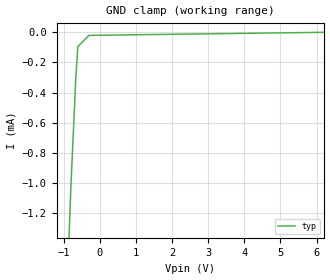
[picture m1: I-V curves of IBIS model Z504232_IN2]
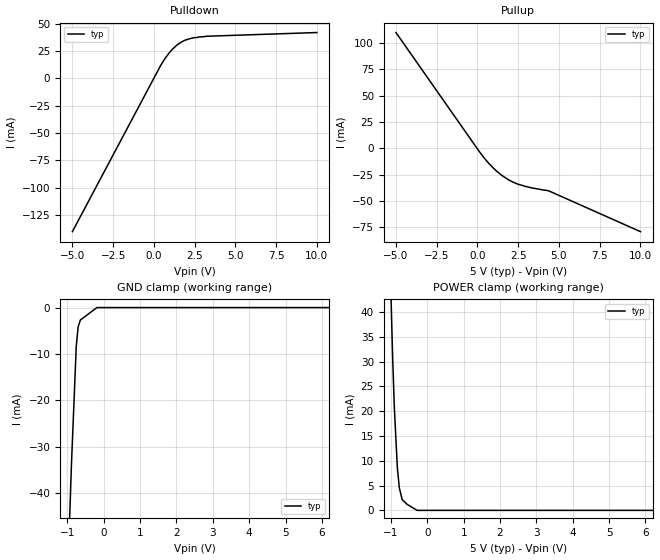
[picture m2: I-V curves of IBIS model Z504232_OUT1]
| YOU ARE ONLY AUTHORIZED TO USE THIS SOFTWARE
| ACCORDING TO LICENSOR'S LICENSE RESTRICTIONS.
[IBIS Ver] 3.1
[File Name] mc74hc4050d.ibs
[File Rev] 2.0
[Source] Measured and created by ICX Technology
[Date] Friday 7/14/00 9:08:10 AM
[Copyright]
| (C) COPYRIGHT 1993-2000
| MENTOR GRAPHICS CORPORATION
| ICX STANDARD LIBRARY, ICX PROJECT MODELING,
| ICX CUSTOM MODELING, ICX VENDOR MODEL
| ALL RIGHTS RESERVED.
| THE FOLLOWING ARE TRADEMARKS OR SERVICE MARKS OF
| MENTOR GRAPHICS CORPORATION:ICX (R), ICX STANDARD
| LIBRARY(R), ICX PROJECT MODELING(R), ICX CUSTOM
| MODELING(R), qualityIBIS(TM), MODELVIEWER(TM),
| AND MODELEDITOR(TM)
| ALL COPIES OF SOFTWARE, INCLUDING BUT NOT LIMITED TO
| ANY MODIFICATIONS, ENHANCEMENTS OR DERIVATIVE WORKS,
| MUST CONTAIN ALL MENTOR GRAPHICS CORPORATION'S
| NOTICES AND LEGENDS, INCLUDING THOSE EMBEDDED IN
| SOFTWARE AND THOSE AFFIXED TO SOFTWARE MEDIUM
| AND CONTAINER, AS RECEIVED FROM MENTOR GRAPHICS
| CORPORATION.
|  ZAP Model Builder 2.7
[Component] MC74HC4050D
[Manufacturer] OnSemiconductor
[Package]
| variable   typ   min   max
R_pkg  .156ohms NA NA
L_pkg  3.148nH NA NA
C_pkg  .388pF NA NA
[Pin] signal_name  model_name  R_pin  L_pin C_pin
1 VCC POWER .162 3.798n .418p
2 Y Z504232_OUT1 .158 3.358n .398p
3 A Z504232_IN2 .154 2.928n .378p
4 Y Z504232_OUT1 .15 2.508n .358p
5 A Z504232_IN2 .15 2.508n .358p
6 Y Z504232_OUT1 .154 2.928n .378p
7 A Z504232_IN2 .158 3.358n .398p
8 GROUND GND .162 3.798n .418p
9 A Z504232_IN2 .162 3.798n .418p
10 Y Z504232_OUT1 .158 3.358n .398p
11 A Z504232_IN2 .154 2.928n .378p
12 Y Z504232_OUT1 .15 2.508n .358p
13 NC NC .15 2.508n .358p
14 A Z504232_IN2 .154 2.928n .378p
15 Y Z504232_OUT1 .158 3.358n .398p
16 NC NC .162 3.798n .418p
| Models and submodels in the file (2): Z504232_IN2 (Input), Z504232_OUT1 (Output)
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| (C) COPYRIGHT 1993-2000
| MENTOR GRAPHICS CORPORATION
| ICX STANDARD LIBRARY, ICX PROJECT MODELING,
| ICX CUSTOM MODELING, ICX VENDOR MODEL
| ALL RIGHTS RESERVED.
| THE FOLLOWING ARE TRADEMARKS OR SERVICE MARKS OF
| MENTOR GRAPHICS CORPORATION:ICX (R), ICX STANDARD
| LIBRARY(R), ICX PROJECT MODELING(R), ICX CUSTOM
| MODELING(R), qualityIBIS(TM), MODELVIEWER(TM),
| AND MODELEDITOR(TM)
| ALL COPIES OF SOFTWARE, INCLUDING BUT NOT LIMITED TO
| ANY MODIFICATIONS, ENHANCEMENTS OR DERIVATIVE WORKS,
| MUST CONTAIN ALL MENTOR GRAPHICS CORPORATION'S
| NOTICES AND LEGENDS, INCLUDING THOSE EMBEDDED IN
| SOFTWARE AND THOSE AFFIXED TO SOFTWARE MEDIUM
| AND CONTAINER, AS RECEIVED FROM MENTOR GRAPHICS
| CORPORATION.
| Model Application Version 1.89 2/18/99.
[Model] Z504232_IN2
Model_type Input
Vinl = 1.000V
Vinh = 3.500V
C_comp 4.000pF NA NA
| variable typ   min   max
[Voltage Range] 5.000V NA NA
[GND Clamp Reference] 0.000V NA NA
[POWER Clamp Reference] 5.000V NA NA
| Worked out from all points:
|   GND clamp passes 1 mA (typ) near -0.80 V on its own axis
[GND Clamp]
-5V       -29.55mA   NA         NA
-1.119V   -3.068mA   NA         NA
-799.9mV  -1.015mA   NA         NA
-664.1mV  -292.4uA   NA         NA
-610mV    -94.64uA   NA         NA
-305mV    -19.43uA   NA         NA
10V       13.09uA    NA         NA
[POWER Clamp]
-5V       0A         NA         NA
10V       0A         NA         NA
| (C) COPYRIGHT 1993-2000
| MENTOR GRAPHICS CORPORATION
| ICX STANDARD LIBRARY, ICX PROJECT MODELING,
| ICX CUSTOM MODELING, ICX VENDOR MODEL
| ALL RIGHTS RESERVED.
| THE FOLLOWING ARE TRADEMARKS OR SERVICE MARKS OF
| MENTOR GRAPHICS CORPORATION:ICX (R), ICX STANDARD
| LIBRARY(R), ICX PROJECT MODELING(R), ICX CUSTOM
| MODELING(R), qualityIBIS(TM), MODELVIEWER(TM),
| AND MODELEDITOR(TM)
| ALL COPIES OF SOFTWARE, INCLUDING BUT NOT LIMITED TO
| ANY MODIFICATIONS, ENHANCEMENTS OR DERIVATIVE WORKS,
| MUST CONTAIN ALL MENTOR GRAPHICS CORPORATION'S
| NOTICES AND LEGENDS, INCLUDING THOSE EMBEDDED IN
| SOFTWARE AND THOSE AFFIXED TO SOFTWARE MEDIUM
| AND CONTAINER, AS RECEIVED FROM MENTOR GRAPHICS
| CORPORATION.
| Model Application Version 1.89 2/18/99.
[Model] Z504232_OUT1
Model_type Output
Vref=0.000V
Rref=500.0Mohms
Cref=50.00pF
Vmeas=2.500V
C_comp 8.000pF NA NA
| variable typ   min   max
[Voltage Range] 5.000V NA NA
[POWER Clamp Reference] 5.000V NA NA
[Pullup Reference] 5.000V NA NA
[Pulldown Reference] 0.000V NA NA
[GND Clamp Reference] 0.000V NA NA
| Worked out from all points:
|   slope of the pulldown table from 0 to 0.75 V, typ, clamps not added: 38.9 ohm
|   slope of the pullup table from 0 to 0.75 V, typ, clamps not added: 51.4 ohm
|   GND clamp passes 1 mA (typ) near -0.36 V on its own axis
[GND Clamp]
-5V       -1.238A    NA         NA
-1.119V   -87.58mA   NA         NA
-888.1mV  -33.62mA   NA         NA
-757.1mV  -8.351mA   NA         NA
-704.7mV  -4.149mA   NA         NA
-644.6mV  -2.693mA   NA         NA
-378.5mV  -1.12mA    NA         NA
-189.3mV  0A         NA         NA
10V       0A         NA         NA
[Pulldown]
-5V       -140mA     NA         NA
415.1mV   11.77mA    NA         NA
918mV     22.85mA    NA         NA
1.431V    30.6mA     NA         NA
1.904V    34.83mA    NA         NA
2.123V    35.97mA    NA         NA
3.215V    38.44mA    NA         NA
10V       41.84mA    NA         NA
[Pullup]
-5V       110mA      NA         NA
122mV     -3.221mA   NA         NA
664mV     -13.73mA   NA         NA
1.197V    -21.94mA   NA         NA
1.885V    -29.69mA   NA         NA
2.48V     -34.03mA   NA         NA
3.276V    -37.41mA   NA         NA
4.385V    -40.45mA   NA         NA
10V       -79.11mA   NA         NA
[POWER Clamp]
-5V       1.397A     NA         NA
-1.108V   72.98mA    NA         NA
-957mV    31.45mA    NA         NA
-908mV    20.79mA    NA         NA
-825mV    8.574mA    NA         NA
-771mV    4.558mA    NA         NA
-693mV    2.192mA    NA         NA
-562mV    1.239mA    NA         NA
-281mV    0A         NA         NA
10V       0A         NA         NA
[Ramp]
| variable typ min max
dV/dt_r 2.753/1.187n NA NA
dV/dt_f 2.753/990.4p NA NA
R_load = 500.0Ohms
